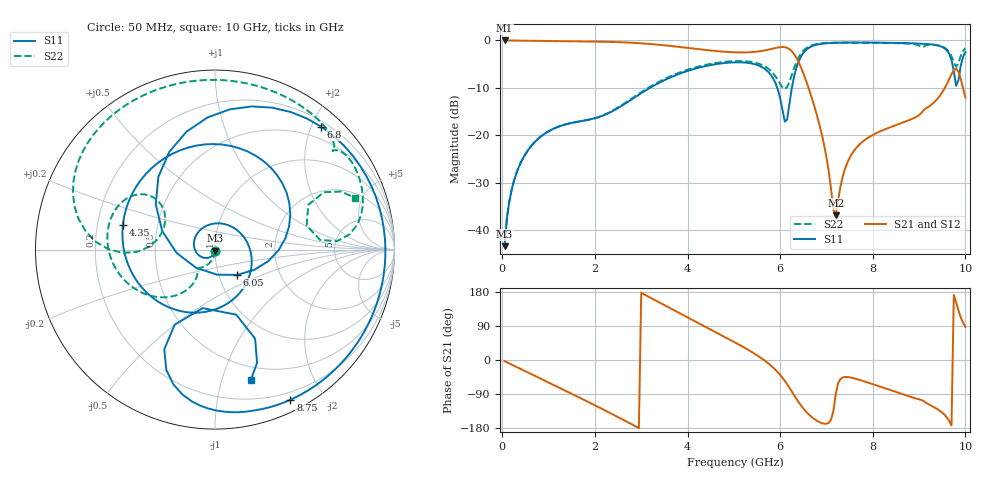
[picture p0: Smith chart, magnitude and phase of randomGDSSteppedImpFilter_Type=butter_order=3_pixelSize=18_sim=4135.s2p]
! freq	dB(S11)	phase(S11)	dB(S12)	phase(S12)
!  dB(S21)	phase(S21)	dB(S22)	phase(S22)
!S-par simulation data
#  GHz  S  DB  R 50
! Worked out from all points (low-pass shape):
!   200 points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, 50 MHz to 10 GHz, reference 50 ohm
!   highest |S21| = -0.01 dB at 50 MHz (marker M1); lowest = -36.8 dB at 7.2 GHz (marker M2)
!   |S21| within 3 dB of the highest: start of sweep to 6.31 GHz
!   lowest |S11| = -43.3 dB at 50 MHz (marker M3), VSWR 1.01, Z = 50 - j0.682 ohm
!   |S11| at or under -10 dB: start of sweep to 3.186 GHz; 5.937 GHz to 6.253 GHz (315.6 MHz wide, 5.18 % of centre)
!   |S22| runs from -43.3 to -0.5 dB; largest |S21 - S12| = 0
!   S11 on the Smith chart (normalised r, x): 50 MHz: 1.00, -0.01; 4.35 GHz: 0.31, +0.12; 6.05 GHz: 1.22, -0.36; 6.8 GHz: 0.28, +2.16; 8.75 GHz: 0.12, -1.62; 10 GHz: 0.37, -1.24
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0.05  -43.30 -92.6  -0.01 -3.0  -0.01 -3.0  -43.26 -90.3
0.2  -31.53 -106.5  -0.02 -12.0  -0.02 -12.0  -31.48 -96.4
0.5  -23.94 -133.1  -0.06 -29.8  -0.06 -29.8  -23.89 -107.2
1.75  -16.90 101.1  -0.21 -104.3  -0.21 -104.3  -16.92 -130.9
2.65  -13.32 -18.5  -0.42 -160.3  -0.42 -160.3  -13.17 -122.8
3.4  -8.85 -103.6  -0.93 151.3  -0.93 151.3  -8.62 -134.6
4.35  -5.49 164.9  -1.96 90.2  -1.96 90.2  -5.23 -165.0
5.05  -4.60 100.5  -2.51 44.8  -2.51 44.8  -4.34 169.4
5.7  -6.22 32.0  -2.03 -4.6  -2.03 -4.6  -5.65 143.8
6.05  -14.57 -49.0  -1.38 -46.8  -1.38 -46.8  -9.88 149.5
6.15  -16.67 -136.8  -1.56 -63.8  -1.56 -63.8  -9.86 168.9
6.35  -5.79 127.9  -3.63 -102.2  -3.63 -102.2  -4.58 180.0
6.7  -1.16 61.2  -12.63 -152.3  -12.63 -152.3  -0.98 150.4
6.8  -0.87 49.1  -15.98 -160.8  -15.98 -160.8  -0.74 143.2
7.2  -0.49 14.1  -36.80 -90.7  -36.80 -90.7  -0.48 120.7
7.55  -0.44 -8.0  -23.86 -47.0  -23.86 -47.0  -0.47 104.6
8.35  -0.50 -46.7  -18.38 -78.0  -18.38 -78.0  -0.54 70.6
8.75  -0.57 -63.3  -16.91 -94.5  -16.91 -94.5  -0.66 52.9
9.4  -1.05 -92.4  -12.24 -130.0  -12.24 -130.0  -1.02 23.5
9.7  -4.11 -116.9  -7.10 -172.6  -7.10 -172.6  -3.32 4.0
9.8  -9.55 -102.0  -5.94 151.9  -5.94 151.9  -5.56 14.6
10  -2.46 -74.6  -12.04 87.5  -12.04 87.5  -1.62 20.4
